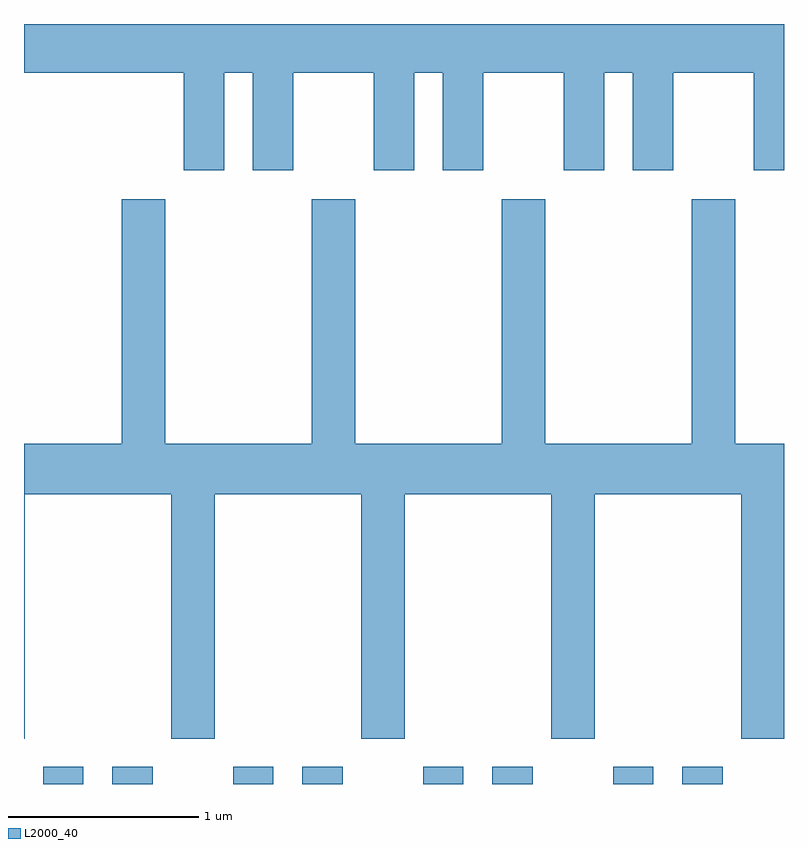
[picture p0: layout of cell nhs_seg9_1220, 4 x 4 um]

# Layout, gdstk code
import gdstk
lib = gdstk.Library(unit=1e-6, precision=1e-09)
def R(c, l, rs):  # rectangles x0, y0, x1, y1
    for r in rs: c.add(gdstk.rectangle(r[:2], r[2:], *l))
def P(c, l, *ps):  # polygons
    for p in ps: c.add(gdstk.Polygon(p, *l))
L2000_40 = (2000, 40)

nhs_seg9_1220 = lib.new_cell('nhs_seg9_1220')
R(nhs_seg9_1220, L2000_40, [(219.711,2072.432,219.924,2072.524), (220.076,2072.432,220.289,2072.524), (220.711,2072.432,220.924,2072.524), (221.076,2072.432,221.289,2072.524), (221.711,2072.432,221.924,2072.524), (222.076,2072.432,222.289,2072.524), (222.711,2072.432,222.924,2072.524), (223.076,2072.432,223.289,2072.524)])
P(nhs_seg9_1220, L2000_40, [(220.664,2076.176),(220.816,2076.176),(220.816,2075.661),(221.029,2075.661),(221.029,2076.176),(221.451,2076.176),(221.451,2075.661),(221.664,2075.661),(221.664,2076.176),(221.816,2076.176),(221.816,2075.661),(222.029,2075.661),(222.029,2076.176),(222.451,2076.176),(222.451,2075.661),(222.664,2075.661),(222.664,2076.176),(222.816,2076.176),(222.816,2075.661),(223.029,2075.661),(223.029,2076.176),(223.451,2076.176),(223.451,2075.661),(223.611,2075.661),(223.611,2076.432),(219.611,2076.432),(219.611,2076.176),(220.451,2076.176),(220.451,2075.661),(220.664,2075.661)],
  [(219.614,2073.956),(220.386,2073.956),(220.386,2072.671),(220.614,2072.671),(220.614,2073.956),(221.386,2073.956),(221.386,2072.671),(221.614,2072.671),(221.614,2073.956),(222.386,2073.956),(222.386,2072.671),(222.614,2072.671),(222.614,2073.956),(223.386,2073.956),(223.386,2072.671),(223.611,2072.671),(223.611,2074.224),(223.354,2074.224),(223.354,2075.509),(223.126,2075.509),(223.126,2074.224),(222.354,2074.224),(222.354,2075.509),(222.126,2075.509),(222.126,2074.224),(221.354,2074.224),(221.354,2075.509),(221.126,2075.509),(221.126,2074.224),(220.354,2074.224),(220.354,2075.509),(220.126,2075.509),(220.126,2074.224),(219.611,2074.224),(219.611,2072.671),(219.614,2072.671)])

lib.write_gds('nhs_seg9_1220.gds')
